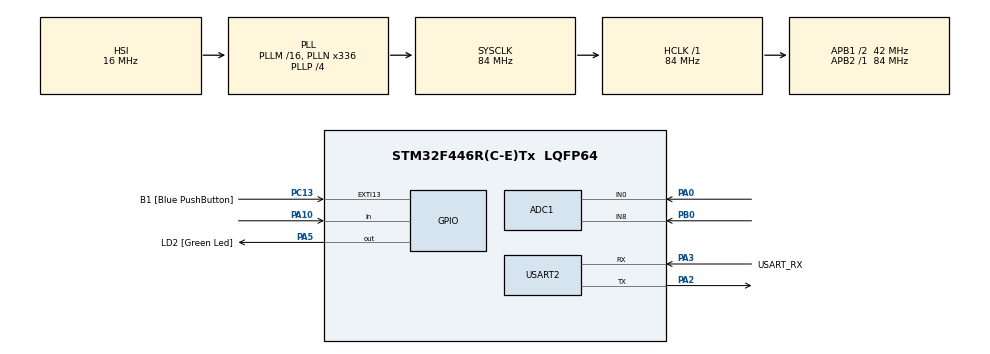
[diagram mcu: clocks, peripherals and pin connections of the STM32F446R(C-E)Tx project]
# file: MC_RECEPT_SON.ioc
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ADC1.Channel-0\#ChannelRegularConversion=ADC_CHANNEL_0
ADC1.ContinuousConvMode=ENABLE
ADC1.EnableAnalogWatchDog=false
ADC1.NbrOfConversionFlag=1
ADC1.Rank-0\#ChannelRegularConversion=1
ADC1.SamplingTime-0\#ChannelRegularConversion=ADC_SAMPLETIME_15CYCLES
ADC1.master=1
Mcu.Family=STM32F4
Mcu.Name=STM32F446R(C-E)Tx
Mcu.Package=LQFP64
NVIC.EXTI15_10_IRQn=true\:0\:0\:false\:false\:true\:true\:true\:true
NVIC.PriorityGroup=NVIC_PRIORITYGROUP_0
NVIC.TIM2_IRQn=true\:0\:0\:false\:false\:true\:true\:true\:true
NVIC.USART2_IRQn=true\:0\:0\:false\:false\:true\:true\:true\:true
PA0-WKUP.Signal=SharedAnalog_PA0
PA10.Signal=GPIO_Input
PA13.GPIO_Label=TMS
PA13.Signal=SYS_JTMS-SWDIO
PA14.GPIO_Label=TCK
PA14.Signal=SYS_JTCK-SWCLK
PA2.Mode=Asynchronous
PA2.Signal=USART2_TX
PA3.GPIO_Label=USART_RX
PA3.Mode=Asynchronous
PA3.Signal=USART2_RX
PA5.GPIO_Label=LD2 [Green Led]
PA5.Signal=GPIO_Output
PB0.Signal=ADCx_IN8
PB3.GPIO_Label=SWO
PB3.Signal=SYS_JTDO-SWO
PC13.GPIO_Label=B1 [Blue PushButton]
PC13.GPIO_ModeDefaultEXTI=GPIO_MODE_IT_FALLING
PC13.Signal=GPXTI13
PC14-OSC32_IN.Signal=RCC_OSC32_IN
PC15-OSC32_OUT.Signal=RCC_OSC32_OUT
PH0-OSC_IN.Signal=RCC_OSC_IN
PH1-OSC_OUT.Signal=RCC_OSC_OUT
ProjectManager.HeapSize=0x200
ProjectManager.StackSize=0x400
ProjectManager.TargetToolchain=STM32CubeIDE
RCC.AHBFreq_Value=84000000
RCC.APB1CLKDivider=RCC_HCLK_DIV2
RCC.APB1Freq_Value=42000000
RCC.APB1TimFreq_Value=84000000
RCC.APB2Freq_Value=84000000
RCC.APB2TimFreq_Value=84000000
RCC.CortexFreq_Value=84000000
RCC.FLatency-AdvancedSettings=FLASH_LATENCY_2
RCC.HCLKFreq_Value=84000000
RCC.HSE_VALUE=8000000
RCC.HSI_VALUE=16000000
RCC.LSE_VALUE=32768
RCC.PLLN=336
RCC.PLLP=RCC_PLLP_DIV4
RCC.SYSCLKFreq_VALUE=84000000
RCC.SYSCLKSource=RCC_SYSCLKSOURCE_PLLCLK
RCC.USBFreq_Value=168000000
RCC.VCOOutputFreq_Value=336000000
SH.ADCx_IN8.0=ADC1_IN8,IN8
SH.SharedAnalog_PA0.0=GPIO_Analog
SH.SharedAnalog_PA0.1=ADC1_IN0,IN0
TIM2.Prescaler=16000-1
USART2.VirtualMode=VM_ASYNC
VP_TIM2_VS_ClockSourceINT.Mode=Internal
VP_TIM2_VS_OPM.Mode=OPM_bit
board=NUCLEO-F446RE

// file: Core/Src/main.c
/* USER CODE BEGIN Header */
/**
  ******************************************************************************
  * @file           : main.c
  * @brief          : Main program body
  ******************************************************************************
  * @attention
  *
  * Copyright (c) 2026 STMicroelectronics.
  * All rights reserved.
  *
  * This software is licensed under terms that can be found in the LICENSE file
  * in the root directory of this software component.
  * If no LICENSE file comes with this software, it is provided AS-IS.
  *
  ******************************************************************************
  */
/* USER CODE END Header */
#include "main.h"

/* USER CODE BEGIN Includes */
#include <stdio.h>
#include <string.h>
/* USER CODE END Includes */

/* USER CODE BEGIN PD */
#define THRESHOLD        2000U   /* Seuil ADC de détection */
#define DOT_DURATION_MS   350U
#define LETTER_GAP_MS     450U
#define WORD_GAP_MS      1200U
/* USER CODE END PD */

ADC_HandleTypeDef hadc1;
TIM_HandleTypeDef htim2;
UART_HandleTypeDef huart2;

/* USER CODE BEGIN PV */
char morse_code[100] = {0};
char texte[100] = {0};

uint8_t texte_index = 0;
uint8_t morse_index = 0;

uint32_t sound_start = 0;
uint32_t silence_start = 0;

uint8_t is_sound_detected = 0;
uint8_t letter_decoded = 0;
uint8_t word_space_added = 0;

char tabAlphabet[36] = {
    'a','b','c','d','e','f','g','h','i','j',
    'k','l','m','n','o','p','q','r','s','t',
    'u','v','w','x','y','z','0','1','2','3',
    '4','5','6','7','8','9'
};

const char *codeMorse[36] = {
    "01", "1000", "1010", "100", "0", "0010", "110", "0000", "00", "0111",
    "101", "0100", "11", "10", "111", "0110", "1101", "010", "000", "1",
    "001", "0001", "011", "1001", "1011", "1100", "11111", "01111", "00111",
    "00011", "00001", "00000", "10000", "11000", "11100", "11110"
};
/* USER CODE END PV */

void SystemClock_Config(void);
static void MX_GPIO_Init(void);
static void MX_ADC1_Init(void);
static void MX_USART2_UART_Init(void);
static void MX_TIM2_Init(void);

/* USER CODE BEGIN PFP */
void UART_SendString(char *str);
int recherche_morse(char *str);
void reset_morse_buffer(void);
void afficher_texte_courant(void);
/* USER CODE END PFP */

/* USER CODE BEGIN 0 */

void UART_SendString(char *str)
{
  HAL_UART_Transmit(&huart2, (uint8_t*)str, strlen(str), HAL_MAX_DELAY);
}

int recherche_morse(char *str)
{
  for (int i = 0; i < 36; i++)
  {
    if (strcmp(codeMorse[i], str) == 0)
    {
      return i;
    }
  }
  return -1;
}

void reset_morse_buffer(void)
{
  memset(morse_code, 0, sizeof(morse_code));
  morse_index = 0;
}

void afficher_texte_courant(void)
{
  UART_SendString("Texte: ");
  UART_SendString(texte);
  UART_SendString("\r\n");
}

/* USER CODE END 0 */

int main(void)
{

  /* MCU Configuration--------------------------------------------------------*/

  /* Reset of all peripherals, Initializes the Flash interface and the Systick. */
  HAL_Init();

  /* Configure the system clock */
  SystemClock_Config();

  /* Initialize all configured peripherals */
  MX_GPIO_Init();
  MX_ADC1_Init();
  MX_USART2_UART_Init();
  MX_TIM2_Init();

  /* USER CODE BEGIN 2 */
  HAL_ADC_Start(&hadc1);
  UART_SendString("Recepteur Morse pret.\r\n");
  /* USER CODE END 2 */

  /* Infinite loop */
  /* USER CODE BEGIN WHILE */
  while (1)
  {
    uint32_t adc_value = 0;
    uint32_t now = HAL_GetTick();

    if (HAL_ADC_PollForConversion(&hadc1, 10) == HAL_OK)
    {
      adc_value = HAL_ADC_GetValue(&hadc1);
    }

    /* Détection début de son */
    if ((adc_value > THRESHOLD) && (is_sound_detected == 0U))
    {
      is_sound_detected = 1U;
      sound_start = now;
      letter_decoded = 0U;
      word_space_added = 0U;
    }

    /* Détection fin de son */
    if ((adc_value <= THRESHOLD) && (is_sound_detected == 1U))
    {
      uint32_t sound_duration = now - sound_start;

      is_sound_detected = 0U;
      silence_start = now;

      if (morse_index < (sizeof(morse_code) - 1U))
      {
        if (sound_duration < DOT_DURATION_MS)
        {
          morse_code[morse_index++] = '0';   /* point */
        }
        else
        {
          morse_code[morse_index++] = '1';   /* trait */
        }

        morse_code[morse_index] = '\0';
      }
    }

    /* Si on est en silence, on mesure sa durée */
    if ((is_sound_detected == 0U) && (silence_start != 0U))
    {
      uint32_t silence_duration = now - silence_start;

      /* Fin de lettre */
      if ((silence_duration > LETTER_GAP_MS) && (letter_decoded == 0U) && (morse_index > 0U))
      {
        int ind = recherche_morse(morse_code);

        if (texte_index < (sizeof(texte) - 1U))
        {
          if (ind != -1)
          {
            texte[texte_index++] = tabAlphabet[ind];
          }
          else
          {
            texte[texte_index++] = '?';
          }
          texte[texte_index] = '\0';
        }

        afficher_texte_courant();

        reset_morse_buffer();
        letter_decoded = 1U;
      }

      /* Fin de mot */
      if ((silence_duration > WORD_GAP_MS) && (word_space_added == 0U))
      {
        if (texte_index < (sizeof(texte) - 1U))
        {
          if ((texte_index > 0U) && (texte[texte_index - 1U] != ' '))
          {
            texte[texte_index++] = ' ';
            texte[texte_index] = '\0';

            afficher_texte_courant();
          }
        }

        word_space_added = 1U;
        silence_start = 0U;
      }
    }

    /* Relance conversion ADC */
    HAL_ADC_Start(&hadc1);
  }
  /* USER CODE END WHILE */

}

void SystemClock_Config(void)
{
  RCC_OscInitTypeDef RCC_OscInitStruct = {0};
  RCC_ClkInitTypeDef RCC_ClkInitStruct = {0};

  /** Configure the main internal regulator output voltage
  */
  __HAL_RCC_PWR_CLK_ENABLE();
  __HAL_PWR_VOLTAGESCALING_CONFIG(PWR_REGULATOR_VOLTAGE_SCALE3);

  /** Initializes the RCC Oscillators according to the specified parameters
  * in the RCC_OscInitTypeDef structure.
  */
  RCC_OscInitStruct.OscillatorType = RCC_OSCILLATORTYPE_HSI;
  RCC_OscInitStruct.HSIState = RCC_HSI_ON;
  RCC_OscInitStruct.HSICalibrationValue = RCC_HSICALIBRATION_DEFAULT;
  RCC_OscInitStruct.PLL.PLLState = RCC_PLL_ON;
  RCC_OscInitStruct.PLL.PLLSource = RCC_PLLSOURCE_HSI;
  RCC_OscInitStruct.PLL.PLLM = 16;
  RCC_OscInitStruct.PLL.PLLN = 336;
  RCC_OscInitStruct.PLL.PLLP = RCC_PLLP_DIV4;
  RCC_OscInitStruct.PLL.PLLQ = 2;
  RCC_OscInitStruct.PLL.PLLR = 2;
  if (HAL_RCC_OscConfig(&RCC_OscInitStruct) != HAL_OK)
  {
    Error_Handler();
  }

  /** Initializes the CPU, AHB and APB buses clocks
  */
  RCC_ClkInitStruct.ClockType = RCC_CLOCKTYPE_HCLK|RCC_CLOCKTYPE_SYSCLK
                              |RCC_CLOCKTYPE_PCLK1|RCC_CLOCKTYPE_PCLK2;
  RCC_ClkInitStruct.SYSCLKSource = RCC_SYSCLKSOURCE_PLLCLK;
  RCC_ClkInitStruct.AHBCLKDivider = RCC_SYSCLK_DIV1;
  RCC_ClkInitStruct.APB1CLKDivider = RCC_HCLK_DIV2;
  RCC_ClkInitStruct.APB2CLKDivider = RCC_HCLK_DIV1;

  if (HAL_RCC_ClockConfig(&RCC_ClkInitStruct, FLASH_LATENCY_2) != HAL_OK)
  {
    Error_Handler();
  }
}

static void MX_ADC1_Init(void)
{

  ADC_ChannelConfTypeDef sConfig = {0};

  /** Configure the global features of the ADC (Clock, Resolution, Data Alignment and number of conversion)
  */
  hadc1.Instance = ADC1;
  hadc1.Init.ClockPrescaler = ADC_CLOCK_SYNC_PCLK_DIV4;
  hadc1.Init.Resolution = ADC_RESOLUTION_12B;
  hadc1.Init.ScanConvMode = DISABLE;
  hadc1.Init.ContinuousConvMode = DISABLE;
  hadc1.Init.DiscontinuousConvMode = DISABLE;
  hadc1.Init.ExternalTrigConvEdge = ADC_EXTERNALTRIGCONVEDGE_NONE;
  hadc1.Init.ExternalTrigConv = ADC_SOFTWARE_START;
  hadc1.Init.DataAlign = ADC_DATAALIGN_RIGHT;
  hadc1.Init.NbrOfConversion = 1;
  hadc1.Init.DMAContinuousRequests = DISABLE;
  hadc1.Init.EOCSelection = ADC_EOC_SINGLE_CONV;
  if (HAL_ADC_Init(&hadc1) != HAL_OK)
  {
    Error_Handler();
  }

  /** Configure for the selected ADC regular channel its corresponding rank in the sequencer and its sample time.
  */
  sConfig.Channel = ADC_CHANNEL_0;
  sConfig.Rank = 1;
  sConfig.SamplingTime = ADC_SAMPLETIME_15CYCLES;
  if (HAL_ADC_ConfigChannel(&hadc1, &sConfig) != HAL_OK)
  {
    Error_Handler();
  }

}

static void MX_TIM2_Init(void)
{

  TIM_ClockConfigTypeDef sClockSourceConfig = {0};
  TIM_MasterConfigTypeDef sMasterConfig = {0};

  htim2.Instance = TIM2;
  htim2.Init.Prescaler = 16000 - 1;
  htim2.Init.CounterMode = TIM_COUNTERMODE_UP;
  htim2.Init.Period = 4294967295;
  htim2.Init.ClockDivision = TIM_CLOCKDIVISION_DIV1;
  htim2.Init.AutoReloadPreload = TIM_AUTORELOAD_PRELOAD_DISABLE;
  if (HAL_TIM_Base_Init(&htim2) != HAL_OK)
  {
    Error_Handler();
  }
  sClockSourceConfig.ClockSource = TIM_CLOCKSOURCE_INTERNAL;
  if (HAL_TIM_ConfigClockSource(&htim2, &sClockSourceConfig) != HAL_OK)
  {
    Error_Handler();
  }
  if (HAL_TIM_OnePulse_Init(&htim2, TIM_OPMODE_SINGLE) != HAL_OK)
  {
    Error_Handler();
  }
  sMasterConfig.MasterOutputTrigger = TIM_TRGO_RESET;
  sMasterConfig.MasterSlaveMode = TIM_MASTERSLAVEMODE_DISABLE;
  if (HAL_TIMEx_MasterConfigSynchronization(&htim2, &sMasterConfig) != HAL_OK)
  {
    Error_Handler();
  }

}

static void MX_USART2_UART_Init(void)
{

  huart2.Instance = USART2;
  huart2.Init.BaudRate = 115200;
  huart2.Init.WordLength = UART_WORDLENGTH_8B;
  huart2.Init.StopBits = UART_STOPBITS_1;
  huart2.Init.Parity = UART_PARITY_NONE;
  huart2.Init.Mode = UART_MODE_TX_RX;
  huart2.Init.HwFlowCtl = UART_HWCONTROL_NONE;
  huart2.Init.OverSampling = UART_OVERSAMPLING_16;
  if (HAL_UART_Init(&huart2) != HAL_OK)
  {
    Error_Handler();
  }

}

static void MX_GPIO_Init(void)
{
  GPIO_InitTypeDef GPIO_InitStruct = {0};

  /* GPIO Ports Clock Enable */
  __HAL_RCC_GPIOC_CLK_ENABLE();
  __HAL_RCC_GPIOH_CLK_ENABLE();
  __HAL_RCC_GPIOA_CLK_ENABLE();
  __HAL_RCC_GPIOB_CLK_ENABLE();

  /*Configure GPIO pin Output Level */
  HAL_GPIO_WritePin(LD2_GPIO_Port, LD2_Pin, GPIO_PIN_RESET);

  /*Configure GPIO pin : B1_Pin */
  GPIO_InitStruct.Pin = B1_Pin;
  GPIO_InitStruct.Mode = GPIO_MODE_IT_FALLING;
  GPIO_InitStruct.Pull = GPIO_NOPULL;
  HAL_GPIO_Init(B1_GPIO_Port, &GPIO_InitStruct);

  /*Configure GPIO pin : LD2_Pin */
  GPIO_InitStruct.Pin = LD2_Pin;
  GPIO_InitStruct.Mode = GPIO_MODE_OUTPUT_PP;
  GPIO_InitStruct.Pull = GPIO_NOPULL;
  GPIO_InitStruct.Speed = GPIO_SPEED_FREQ_LOW;
  HAL_GPIO_Init(LD2_GPIO_Port, &GPIO_InitStruct);

  /*Configure GPIO pin : PA0 as analog input for ADC1_IN0 */
  GPIO_InitStruct.Pin = GPIO_PIN_0;
  GPIO_InitStruct.Mode = GPIO_MODE_ANALOG;
  GPIO_InitStruct.Pull = GPIO_NOPULL;
  HAL_GPIO_Init(GPIOA, &GPIO_InitStruct);

}

void Error_Handler(void)
{
  __disable_irq();
  while (1)
  {
  }
}
